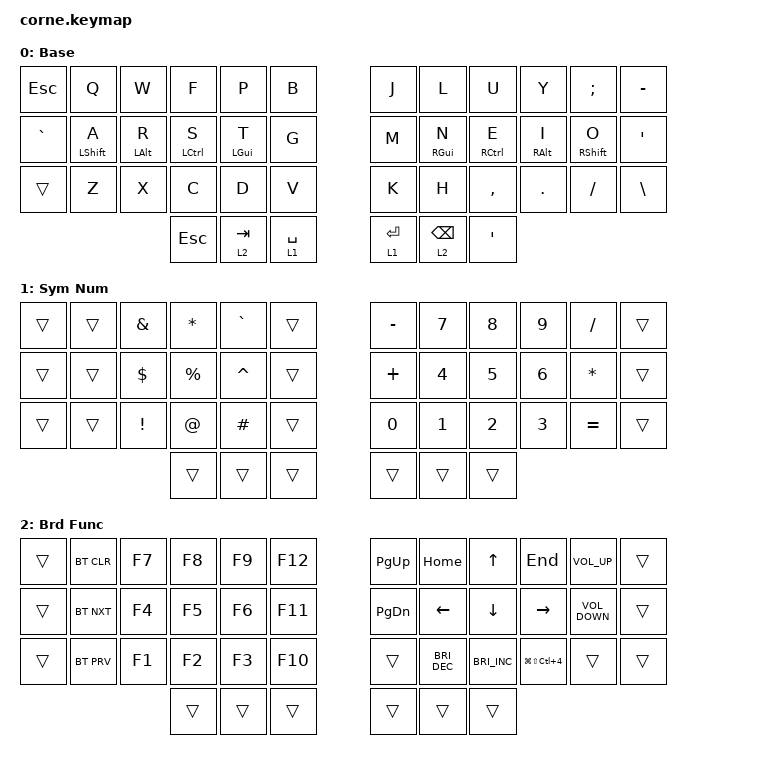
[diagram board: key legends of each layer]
/*
 * Copyright (c 2020 The ZMK Contributors
 *
 * SPDX-License-Identifier: MIT
 */

#include <behaviors.dtsi>
#include <dt-bindings/zmk/bt.h>
#include <dt-bindings/zmk/keys.h>

/ {
    combos {
        compatible = "zmk,combos";

        combo_lbracket {
            bindings = <&kp LEFT_BRACKET>;
            key-positions = <4 3>;
            layers = <0>;
        };

        combo_lbrace {
            bindings = <&kp LEFT_BRACE>;
            key-positions = <15 16>;
            layers = <0>;
        };

        combo_lpar {
            bindings = <&kp LEFT_PARENTHESIS>;
            key-positions = <27 28>;
            layers = <0>;
        };

        combo_rbracket {
            bindings = <&kp RIGHT_BRACKET>;
            key-positions = <7 8>;
            layers = <0>;
        };

        combo_rbrace {
            bindings = <&kp RIGHT_BRACE>;
            key-positions = <19 20>;
            layers = <0>;
        };

        combo_rpar {
            bindings = <&kp RIGHT_PARENTHESIS>;
            key-positions = <31 32>;
            layers = <0>;
        };

        combo_langle {
            bindings = <&kp LESS_THAN>;
            key-positions = <13 14>;
            layers = <0>;
        };

        combo_rangle {
            bindings = <&kp GREATER_THAN>;
            key-positions = <21 22>;
            layers = <0>;
        };

        // 36-key trial: extra combo paths to MINUS, GRAVE and BACKSLASH,
        // previewing where they'd live once the outer pinky column is dropped.
        combo_minus {
            bindings = <&kp MINUS>;
            key-positions = <16 19>;
            layers = <0>;
        };

        combo_grave {
            bindings = <&kp GRAVE>;
            key-positions = <17 18>;
            layers = <0>;
        };

        // B+J (row 0) and V+K (row 2) echo combo_grave's shape: adjacent
        // center columns, not mod-tapped, no full-hand pinky stretch like
        // A+O/Z+FSLH required.
        combo_backslash {
            bindings = <&kp BACKSLASH>;
            key-positions = <5 6>;
            layers = <0>;
        };

        combo_pipe {
            bindings = <&kp PIPE>;
            key-positions = <29 30>;
            layers = <0>;
        };
    };

    keymap {
        compatible = "zmk,keymap";

        default_layer {
            display-name = "Base";
            bindings = <
&kp ESC    &kp Q        &kp W       &kp F        &kp P       &kp B          &kp J        &kp L            &kp U                &kp Y            &kp SEMICOLON  &kp MINUS
&kp GRAVE  &hml LSHFT A  &hml LALT R  &hml LCTRL S  &hml LGUI T  &kp G          &kp M        &hmr RGUI N       &hmr RIGHT_CONTROL E  &hmr RIGHT_ALT I  &hmr RSHFT O    &kp APOSTROPHE
&trans     &kp Z        &kp X       &kp C        &kp D       &kp V          &kp K        &kp H            &kp COMMA            &kp DOT          &kp FSLH       &kp BACKSLASH
                                    &kp ESC      &lt 2 TAB   &lt 1 SPACE    &lt 1 ENTER  &bspc_lt 2 BACKSPACE  &kp APOSTROPHE
            >;
        };

        sym_num_layer {
            display-name = "Sym Num";
            bindings = <
&trans   &trans  &kp AMPERSAND    &kp ASTERISK  &kp GRAVE  &trans    &kp MINUS     &kp NUMBER_7  &kp NUMBER_8  &kp NUMBER_9  &kp SLASH     &trans
&trans   &trans  &kp DOLLAR       &kp PERCENT   &kp CARET  &trans    &kp PLUS      &kp NUMBER_4  &kp NUMBER_5  &kp NUMBER_6  &kp ASTERISK  &trans
&trans   &trans  &kp EXCLAMATION  &kp AT        &kp HASH   &trans    &kp NUMBER_0  &kp NUMBER_1  &kp NUMBER_2  &kp NUMBER_3  &kp EQUAL     &trans
                                  &trans        &trans     &trans    &trans        &trans        &trans
            >;
        };

        brd_sym_layer {
            display-name = "Brd Func";
            bindings = <
&trans  &bt BT_CLR  &kp F7  &kp F8  &kp F9  &kp F12    &kp PAGE_UP    &kp HOME              &kp UP_ARROW          &kp END    &kp C_VOLUME_UP    &trans
&trans  &bt BT_NXT  &kp F4  &kp F5  &kp F6  &kp F11    &kp PAGE_DOWN  &kp LEFT_ARROW        &kp DOWN              &kp RIGHT  &kp C_VOLUME_DOWN  &trans
&trans  &bt BT_PRV  &kp F1  &kp F2  &kp F3  &kp F10    &trans         &kp C_BRIGHTNESS_DEC  &kp C_BRIGHTNESS_INC  &kp LG(LS(LC(N4)))  &trans             &trans
                            &trans  &trans  &trans     &trans         &trans                &trans
            >;
        };
    };

    behaviors {
        // Timeless home row mods: a mod only becomes a hold when the next key
        // is on the opposite hand; same-hand keys resolve it as a tap.
        hml: home_row_mods_left {
            compatible = "zmk,behavior-hold-tap";
            label = "HOME_ROW_MODS_LEFT";
            #binding-cells = <2>;
            flavor = "balanced";
            tapping-term-ms = <280>;
            quick-tap-ms = <175>;
            require-prior-idle-ms = <150>;
            hold-trigger-key-positions = <6 7 8 9 10 11 18 19 20 21 22 23 30 31 32 33 34 35 39 40 41>;
            hold-trigger-on-release;
            bindings = <&kp>, <&kp>;
        };

        hmr: home_row_mods_right {
            compatible = "zmk,behavior-hold-tap";
            label = "HOME_ROW_MODS_RIGHT";
            #binding-cells = <2>;
            flavor = "balanced";
            tapping-term-ms = <280>;
            quick-tap-ms = <175>;
            require-prior-idle-ms = <150>;
            hold-trigger-key-positions = <0 1 2 3 4 5 12 13 14 15 16 17 24 25 26 27 28 29 36 37 38>;
            hold-trigger-on-release;
            bindings = <&kp>, <&kp>;
        };

        bspc_lt: backspace_layer_tap {
            compatible = "zmk,behavior-hold-tap";
            label = "BACKSPACE_LAYER_TAP";
            #binding-cells = <2>;
            tapping-term-ms = <200>;
            quick-tap-ms = <175>; // Tap then hold within this window = held (repeating) backspace
            flavor = "tap-preferred";
            bindings = <&mo>, <&kp>;
        };
    };
};
